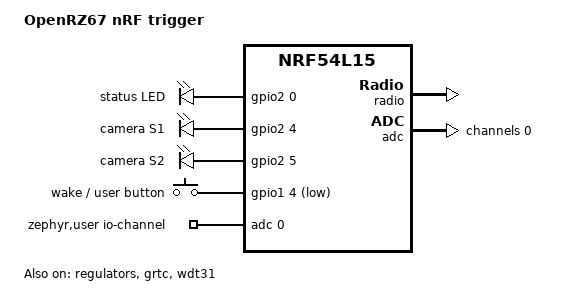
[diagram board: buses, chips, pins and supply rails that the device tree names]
/dts-v1/;
#include <nordic/nrf54l15_cpuapp.dtsi>
#include <zephyr/dt-bindings/input/input-event-codes.h>
#include <zephyr/dt-bindings/adc/adc.h>
#include <zephyr/dt-bindings/adc/nrf-saadc.h>
#include <zephyr/dt-bindings/gpio/nordic-nrf-gpio.h>

/ {
	model = "OpenRZ67 nRF trigger";
	compatible = "openrz67,openrz67-nrf";

	chosen {
		zephyr,sram = &cpuapp_sram;
		zephyr,flash = &cpuapp_rram;
		zephyr,flash-controller = &rram_controller;
		zephyr,code-partition = &slot0_partition;
	};

	/* E73-2G4M08S1F pads -> nRF54L15 GPIO, see ../../../../kicad/README.md */
	outputs {
		compatible = "gpio-leds";
		status_led: led_0 {
			gpios = <&gpio2 0 GPIO_ACTIVE_HIGH>;	/* D1 through R3, pad 18 */
			label = "status LED";
		};
		s1_drv: s1 {
			gpios = <&gpio2 4 (GPIO_ACTIVE_HIGH | NRF_GPIO_DRIVE_S0H1)>;	/* U2 PhotoMOS LED through R1, pad 27; high drive, 5 mA */
			label = "camera S1";
		};
		s2_drv: s2 {
			gpios = <&gpio2 5 (GPIO_ACTIVE_HIGH | NRF_GPIO_DRIVE_S0H1)>;	/* U3 PhotoMOS LED through R2, pad 28; high drive, 5 mA */
			label = "camera S2";
		};
	};

	buttons {
		compatible = "gpio-keys";
		user_button: button_0 {
			gpios = <&gpio1 4 (GPIO_PULL_UP | GPIO_ACTIVE_LOW)>;	/* SW1 to GND, pad 7 */
			label = "wake / user button";
			zephyr,code = <INPUT_KEY_0>;
		};
	};

	zephyr,user {
		io-channels = <&adc 0>;	/* VDD, i.e. the cell voltage */
	};

	aliases {
		led0 = &status_led;
		sw0 = &user_button;
		watchdog0 = &wdt31;
	};
};

&cpuapp_sram {
	status = "okay";
};

/* Crystals inside the module; Ebyte does not give their load capacitance, these are the DK values */
&lfxo {
	load-capacitors = "internal";
	load-capacitance-femtofarad = <17000>;
};

&hfxo {
	load-capacitors = "internal";
	load-capacitance-femtofarad = <15000>;
};

&regulators {
	status = "okay";
};

&grtc {
	owned-channels = <0 1 2 3 4 5 6 7 8 9 10 11>;
	child-owned-channels = <3 4 7 8 9 10 11>;
	status = "okay";
};

&clock {
	status = "okay";
};

&radio {
	status = "okay";
};

&adc {
	status = "okay";
	#address-cells = <1>;
	#size-cells = <0>;
	channel@0 {
		reg = <0>;
		zephyr,gain = "ADC_GAIN_1_4";
		zephyr,reference = "ADC_REF_INTERNAL";
		zephyr,acquisition-time = <ADC_ACQ_TIME(ADC_ACQ_TIME_MICROSECONDS, 40)>;
		zephyr,input-positive = <NRF_SAADC_VDD>;
		zephyr,resolution = <12>;
		zephyr,oversampling = <4>;
	};
};

&gpio1 {
	status = "okay";
	sense-edge-mask = <(1 << 4)>;	/* button via SENSE, not a GPIOTE channel */
	latch-detect;	/* anomaly 114: a bouncing SENSE pin can leave ~300 uA on in idle */
};

&gpio2 {
	status = "okay";
};

&wdt31 {
	status = "okay";
};

&gpiote20 {
	status = "okay";
};

#include <vendor/nordic/nrf54l15_cpuapp_partition.dtsi>
